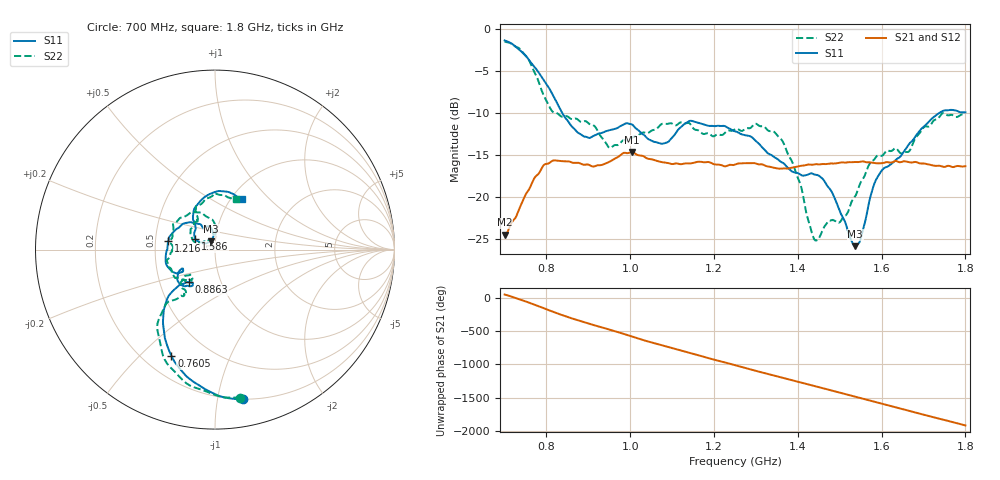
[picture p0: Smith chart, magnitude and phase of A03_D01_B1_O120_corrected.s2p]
! Created with skrf 1.9.0 (http://scikit-rf.org).
# Hz S RI R 50.0
!freq ReS11 ImS11 ReS21 ImS21 ReS12 ImS12 ReS22 ImS22
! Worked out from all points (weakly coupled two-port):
!   1601 points, 700 MHz to 1.8 GHz, reference 50 ohm
!   highest |S21| = -14.64 dB at 1.003 GHz (marker M1); lowest = -24.4 dB at 700 MHz (marker M2)
!   lowest |S11| = -25.8 dB at 1.537 GHz (marker M3), VSWR 1.11, Z = 47.7 + j4.46 ohm
!   |S11| at or under -10 dB: 837.5 MHz to 1.738 GHz (900.7 MHz wide, 69.9 % of centre)
!   |S22| runs from -25.1 to -1.5 dB; largest |S21 - S12| = 0.0038
!   S11 on the Smith chart (normalised r, x): 700 MHz: 0.20, -1.19; 760.5 MHz: 0.31, -0.62; 886.3 MHz: 0.70, -0.27; 1.216 GHz: 0.59, +0.06; 1.586 GHz: 0.80, +0.10; 1.8 GHz: 1.12, +0.70
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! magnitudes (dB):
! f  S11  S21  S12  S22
! 700 MHz  -1.4  -24.4  -24.2  -1.5
! 760.5 MHz  -3.9  -18.9  -18.7  -4.0
! 812.8 MHz  -7.7  -15.7  -15.7  -9.8
! 883.6 MHz  -12.6  -16.1  -16.0  -11.1
! 886.3 MHz  -12.7  -16.1  -16.0  -11.0
! 950.9 MHz  -12.0  -15.8  -15.8  -14.2
! 1.003 GHz  -11.3  -14.6  -14.8  -13.0
! 1.067 GHz  -13.5  -15.7  -15.7  -11.7
! 1.141 GHz  -11.0  -16.0  -15.9  -11.2
! 1.216 GHz  -11.6  -16.2  -16.2  -12.6
! 1.25 GHz  -12.2  -16.1  -16.1  -11.9
! 1.361 GHz  -15.8  -16.6  -16.6  -13.2
! 1.405 GHz  -17.3  -16.3  -16.3  -18.3
! 1.434 GHz  -17.2  -16.1  -16.1  -24.2
! 1.447 GHz  -17.4  -16.1  -16.1  -25.1
! 1.48 GHz  -19.2  -16.0  -16.0  -22.7
! 1.537 GHz  -25.8  -15.8  -15.8  -19.9
! 1.586 GHz  -18.0  -16.0  -16.0  -15.3
! 1.617 GHz  -16.3  -15.9  -15.8  -14.5
! 1.664 GHz  -13.8  -15.8  -15.8  -14.6
! 1.734 GHz  -10.1  -16.3  -16.3  -10.7
! 1.8 GHz  -9.9  -16.3  -16.3  -10.3
